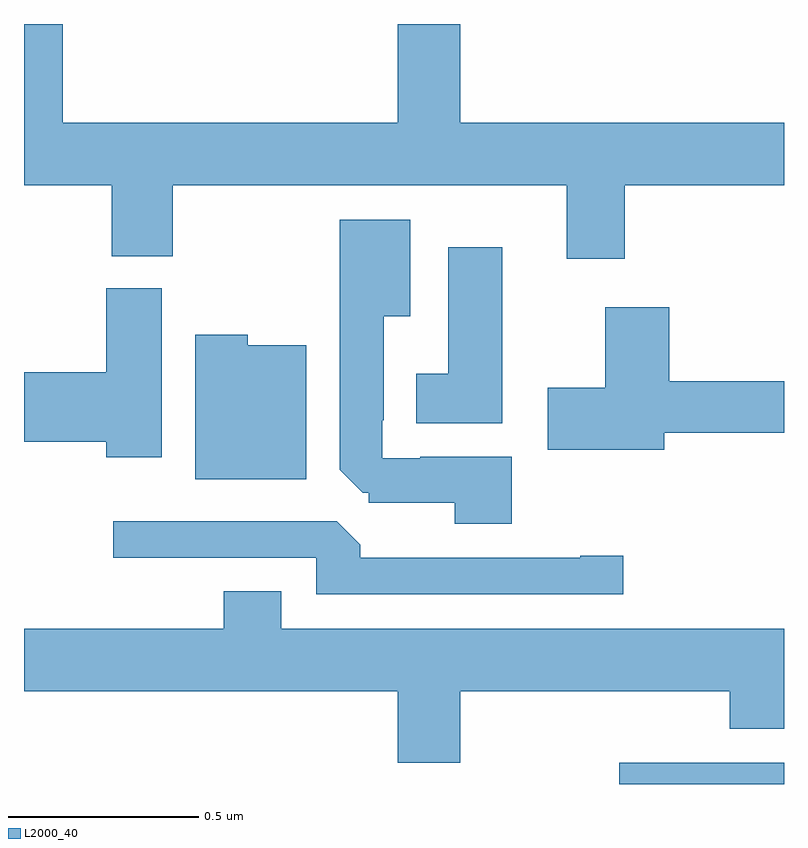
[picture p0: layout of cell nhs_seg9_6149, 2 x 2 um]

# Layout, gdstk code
import gdstk
lib = gdstk.Library(unit=1e-6, precision=1e-09)
def R(c, l, rs):  # rectangles x0, y0, x1, y1
    for r in rs: c.add(gdstk.rectangle(r[:2], r[2:], *l))
def P(c, l, *ps):  # polygons
    for p in ps: c.add(gdstk.Polygon(p, *l))
L2000_40 = (2000, 40)

nhs_seg9_6149 = lib.new_cell('nhs_seg9_6149')
R(nhs_seg9_6149, L2000_40, [(189.567,1205.5,190,1205.556)])
P(nhs_seg9_6149, L2000_40, [(189.581,1207.076),(190,1207.076),(190,1207.24),(189.148,1207.24),(189.148,1207.5),(188.984,1207.5),(188.984,1207.24),(188.102,1207.24),(188.102,1207.5),(188,1207.5),(188,1207.076),(188.231,1207.076),(188.231,1206.889),(188.391,1206.889),(188.391,1207.076),(189.428,1207.076),(189.428,1206.882),(189.581,1206.882)],
  [(189.283,1206.361),(189.043,1206.361),(189.043,1206.357),(188.943,1206.357),(188.943,1206.457),(188.947,1206.457),(188.947,1206.731),(189.016,1206.731),(189.016,1206.985),(188.831,1206.985),(188.831,1206.327),(188.891,1206.267),(188.907,1206.267),(188.907,1206.24),(189.134,1206.24),(189.134,1206.185),(189.283,1206.185)],
  [(189.259,1206.913),(189.116,1206.913),(189.116,1206.58),(189.032,1206.58),(189.032,1206.449),(189.259,1206.449)],
  [(188.362,1206.804),(188.216,1206.804),(188.216,1206.584),(188,1206.584),(188,1206.401),(188.216,1206.401),(188.216,1206.36),(188.362,1206.36)],
  [(189.685,1206.424),(190,1206.424),(190,1206.56),(189.698,1206.56),(189.698,1206.754),(189.53,1206.754),(189.53,1206.543),(189.378,1206.543),(189.378,1206.38),(189.685,1206.38)],
  [(188.743,1206.655),(188.589,1206.655),(188.589,1206.682),(188.45,1206.682),(188.45,1206.302),(188.743,1206.302)],
  [(189.577,1206.101),(189.464,1206.101),(189.464,1206.096),(188.885,1206.096),(188.885,1206.13),(188.823,1206.192),(188.235,1206.192),(188.235,1206.096),(188.769,1206.096),(188.769,1206),(189.577,1206)],
  [(189.148,1205.744),(189.857,1205.744),(189.857,1205.645),(190,1205.645),(190,1205.908),(188.677,1205.908),(188.677,1206.007),(188.525,1206.007),(188.525,1205.908),(188,1205.908),(188,1205.744),(188.984,1205.744),(188.984,1205.556),(189.148,1205.556)])

lib.write_gds('nhs_seg9_6149.gds')
